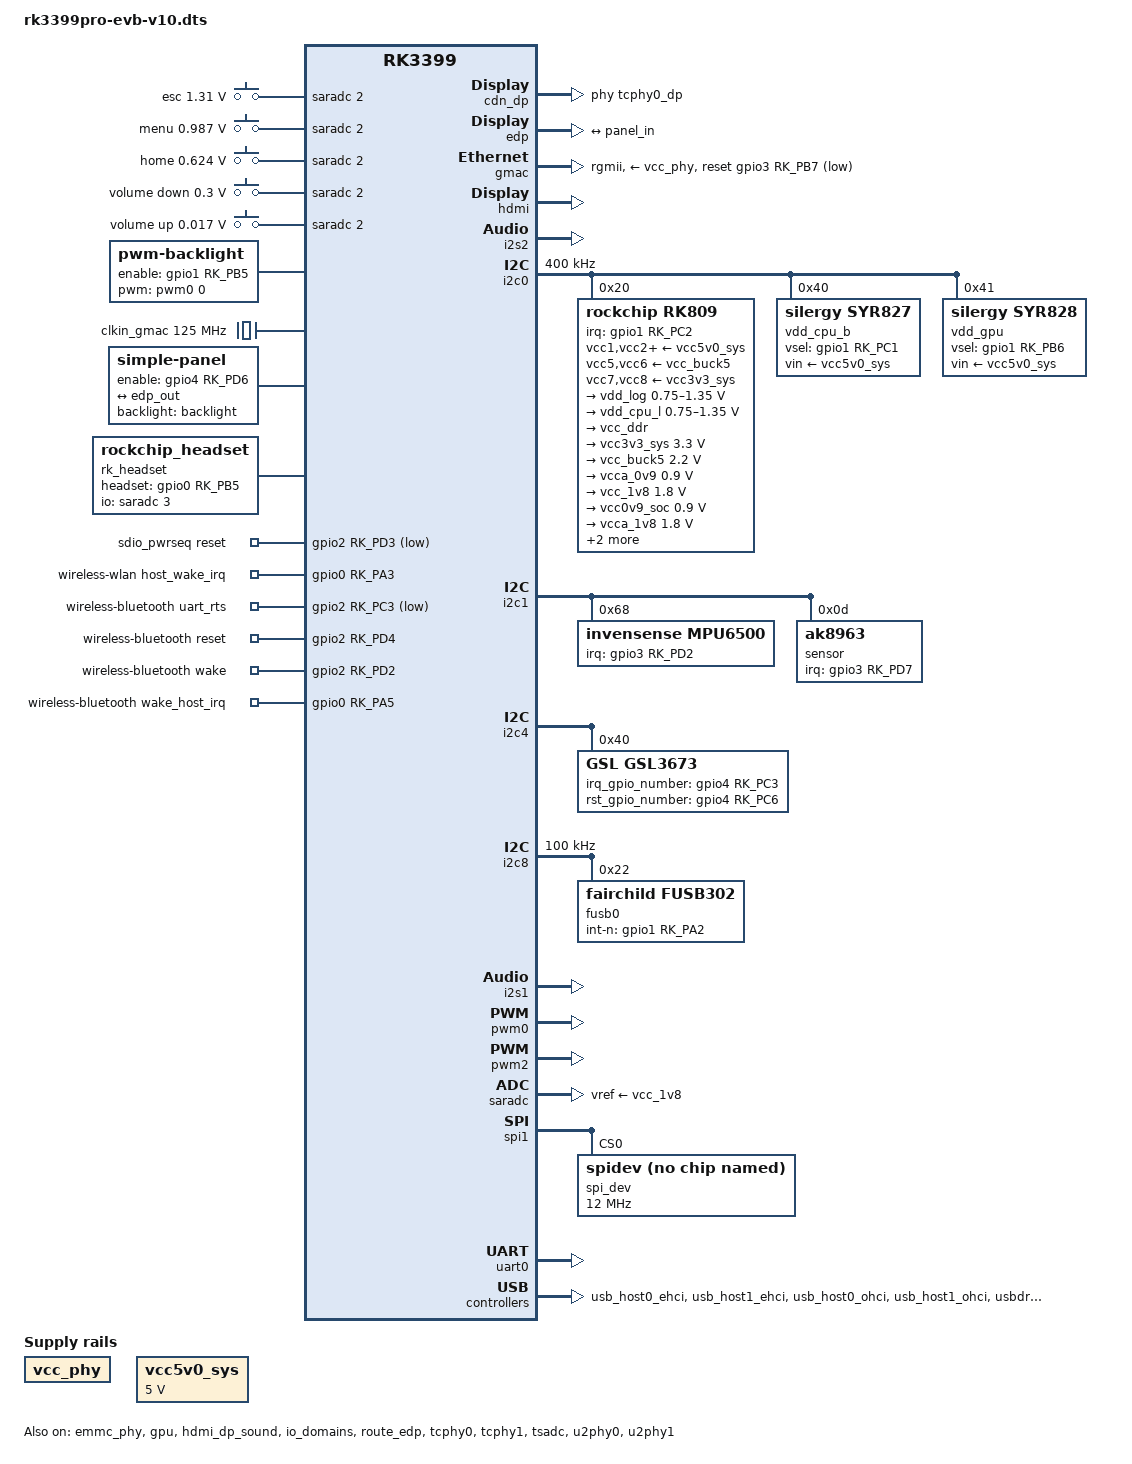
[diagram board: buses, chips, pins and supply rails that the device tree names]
// SPDX-License-Identifier: (GPL-2.0+ OR MIT)
// Copyright (c) 2018 Fuzhou Rockchip Electronics Co., Ltd

/dts-v1/;
#include <dt-bindings/gpio/gpio.h>
#include <dt-bindings/pinctrl/rockchip.h>
#include <dt-bindings/input/input.h>
#include <dt-bindings/display/drm_mipi_dsi.h>
#include <dt-bindings/sensor-dev.h>
#include <dt-bindings/pwm/pwm.h>
#include "rk3399pro.dtsi"
#include "rk3399-android.dtsi"
#include "rk3399-opp.dtsi"
#include "rk3399-vop-clk-set.dtsi"

/ {
	compatible = "rockchip,rk3399pro-evb-v10", "rockchip,rk3399pro";

	adc-keys {
		compatible = "adc-keys";
		io-channels = <&saradc 2>;
		io-channel-names = "buttons";
		poll-interval = <100>;
		keyup-threshold-microvolt = <1800000>;

		esc-key {
			linux,code = <KEY_ESC>;
			label = "esc";
			press-threshold-microvolt = <1310000>;
		};

		menu-key {
			linux,code = <KEY_MENU>;
			label = "menu";
			press-threshold-microvolt = <987000>;
		};

		home-key {
			linux,code = <KEY_HOME>;
			label = "home";
			press-threshold-microvolt = <624000>;
		};

		vol-down-key {
			linux,code = <KEY_VOLUMEDOWN>;
			label = "volume down";
			press-threshold-microvolt = <300000>;
		};

		vol-up-key {
			linux,code = <KEY_VOLUMEUP>;
			label = "volume up";
			press-threshold-microvolt = <17000>;
		};
	};

	backlight: backlight {
		compatible = "pwm-backlight";
		pwms = <&pwm0 0 25000 0>;
		brightness-levels = <
			  0  20  20  21  21  22  22  23
			 23  24  24  25  25  26  26  27
			 27  28  28  29  29  30  30  31
			 31  32  32  33  33  34  34  35
			 35  36  36  37  37  38  38  39
			 40  41  42  43  44  45  46  47
			 48  49  50  51  52  53  54  55
			 56  57  58  59  60  61  62  63
			 64  65  66  67  68  69  70  71
			 72  73  74  75  76  77  78  79
			 80  81  82  83  84  85  86  87
			 88  89  90  91  92  93  94  95
			 96  97  98  99 100 101 102 103
			104 105 106 107 108 109 110 111
			112 113 114 115 116 117 118 119
			120 121 122 123 124 125 126 127
			128 129 130 131 132 133 134 135
			136 137 138 139 140 141 142 143
			144 145 146 147 148 149 150 151
			152 153 154 155 156 157 158 159
			160 161 162 163 164 165 166 167
			168 169 170 171 172 173 174 175
			176 177 178 179 180 181 182 183
			184 185 186 187 188 189 190 191
			192 193 194 195 196 197 198 199
			200 201 202 203 204 205 206 207
			208 209 210 211 212 213 214 215
			216 217 218 219 220 221 222 223
			224 225 226 227 228 229 230 231
			232 233 234 235 236 237 238 239
			240 241 242 243 244 245 246 247
			248 249 250 251 252 253 254 255
		>;
		default-brightness-level = <200>;
		enable-gpios = <&gpio1 RK_PB5 GPIO_ACTIVE_HIGH>;
	};

	clkin_gmac: external-gmac-clock {
		compatible = "fixed-clock";
		clock-frequency = <125000000>;
		clock-output-names = "clkin_gmac";
		#clock-cells = <0>;
	};

	hdmi_sound: hdmi-sound {
		status = "okay";
		compatible = "simple-audio-card";
		simple-audio-card,format = "i2s";
		simple-audio-card,mclk-fs = <256>;
		simple-audio-card,name = "rockchip,hdmi";

		simple-audio-card,cpu {
			sound-dai = <&i2s2>;
		};
		simple-audio-card,codec {
			sound-dai = <&hdmi>;
		};
	};

	panel: panel {
		compatible = "simple-panel";
		backlight = <&backlight>;
		enable-gpios = <&gpio4 RK_PD6 GPIO_ACTIVE_HIGH>;
		prepare-delay-ms = <20>;
		enable-delay-ms = <20>;
		reset-delay-ms = <20>;

		display-timings {
			native-mode = <&timing0>;

			timing0: timing0 {
				clock-frequency = <200000000>;
				hactive = <1536>;
				vactive = <2048>;
				hfront-porch = <12>;
				hsync-len = <16>;
				hback-porch = <48>;
				vfront-porch = <8>;
				vsync-len = <4>;
				vback-porch = <8>;
				hsync-active = <0>;
				vsync-active = <0>;
				de-active = <0>;
				pixelclk-active = <0>;
			};
		};

		ports {
			panel_in: endpoint {
				remote-endpoint = <&edp_out>;
			};
		};
	};

	rk809-sound {
		compatible = "simple-audio-card";
		simple-audio-card,format = "i2s";
		simple-audio-card,name = "rockchip,rk809-codec";
		simple-audio-card,mclk-fs = <256>;
		simple-audio-card,widgets =
			"Microphone", "Mic Jack",
			"Headphone", "Headphone Jack";
		simple-audio-card,routing =
			"Mic Jack", "MICBIAS1",
			"IN1P", "Mic Jack",
			"Headphone Jack", "HPOL",
			"Headphone Jack", "HPOR";
		simple-audio-card,cpu {
			sound-dai = <&i2s1>;
		};
		simple-audio-card,codec {
			sound-dai = <&rk809_codec>;
		};
	};

	rk_headset: rk-headset {
		compatible = "rockchip_headset";
		headset_gpio = <&gpio0 RK_PB5 GPIO_ACTIVE_HIGH>;
		pinctrl-names = "default";
		pinctrl-0 = <&hp_det>;
		io-channels = <&saradc 3>;
	};

	sdio_pwrseq: sdio-pwrseq {
		compatible = "mmc-pwrseq-simple";
		clocks = <&rk809 1>;
		clock-names = "ext_clock";
		pinctrl-names = "default";
		pinctrl-0 = <&wifi_enable_h>;

		/*
		 * On the module itself this is one of these (depending
		 * on the actual card populated):
		 * - SDIO_RESET_L_WL_REG_ON
		 * - PDN (power down when low)
		 */
		reset-gpios = <&gpio2 RK_PD3 GPIO_ACTIVE_LOW>;
	};

	vcc_phy: vcc-phy-regulator {
		compatible = "regulator-fixed";
		regulator-name = "vcc_phy";
		regulator-always-on;
		regulator-boot-on;
	};

	vcc5v0_sys: vccsys {
		compatible = "regulator-fixed";
		regulator-name = "vcc5v0_sys";
		regulator-always-on;
		regulator-boot-on;
		regulator-min-microvolt = <5000000>;
		regulator-max-microvolt = <5000000>;
	};

	wireless-wlan {
		compatible = "wlan-platdata";
		rockchip,grf = <&grf>;
		wifi_chip_type = "ap6398s";
		sdio_vref = <1800>;
		WIFI,host_wake_irq = <&gpio0 RK_PA3 GPIO_ACTIVE_HIGH>;
		status = "okay";
	};

	wireless-bluetooth {
		compatible = "bluetooth-platdata";
		clocks = <&rk809 1>;
		clock-names = "ext_clock";
		uart_rts_gpios = <&gpio2 RK_PC3 GPIO_ACTIVE_LOW>;
		pinctrl-names = "default", "rts_gpio";
		pinctrl-0 = <&uart0_rts>, <&bt_irq_gpio>;
		pinctrl-1 = <&uart0_gpios>;
		BT,reset_gpio    = <&gpio2 RK_PD4 GPIO_ACTIVE_HIGH>;
		BT,wake_gpio     = <&gpio2 RK_PD2 GPIO_ACTIVE_HIGH>;
		BT,wake_host_irq = <&gpio0 RK_PA5 GPIO_ACTIVE_HIGH>;
		status = "okay";
	};
};

&cdn_dp {
	status = "okay";
	extcon = <&fusb0>;
	phys = <&tcphy0_dp>;
};

&cpu_l0 {
	cpu-supply = <&vdd_cpu_l>;
};

&cpu_l1 {
	cpu-supply = <&vdd_cpu_l>;
};

&cpu_l2 {
	cpu-supply = <&vdd_cpu_l>;
};

&cpu_l3 {
	cpu-supply = <&vdd_cpu_l>;
};

&cpu_b0 {
	cpu-supply = <&vdd_cpu_b>;
};

&cpu_b1 {
	cpu-supply = <&vdd_cpu_b>;
};

&dp_in_vopb {
	status = "disabled";
};

&edp {
	status = "okay";
	force-hpd;

	ports {
		port@1 {
			reg = <1>;

			edp_out: endpoint {
				remote-endpoint = <&panel_in>;
			};
		};
	};
};

&edp_in_vopl {
	status = "disabled";
};

&emmc_phy {
	status = "okay";
};

&fiq_debugger {
	pinctrl-0 = <&uart2a_xfer>;
};

&firmware_android {
	compatible = "android,firmware";
	fstab {
		compatible = "android,fstab";
		system {
			compatible = "android,system";
			dev = "/dev/block/by-name/system";
			type = "ext4";
			mnt_flags = "ro,barrier=1,inode_readahead_blks=8";
			fsmgr_flags = "wait,verify";
		};
		vendor {
			compatible = "android,vendor";
			dev = "/dev/block/by-name/vendor";
			type = "ext4";
			mnt_flags = "ro,barrier=1,inode_readahead_blks=8";
			fsmgr_flags = "wait,verify";
		};
	};
};

&gmac {
	phy-supply = <&vcc_phy>;
	phy-mode = "rgmii";
	clock_in_out = "input";
	snps,reset-gpio = <&gpio3 RK_PB7 GPIO_ACTIVE_LOW>;
	snps,reset-active-low;
	snps,reset-delays-us = <0 10000 50000>;
	assigned-clocks = <&cru SCLK_RMII_SRC>;
	assigned-clock-parents = <&clkin_gmac>;
	pinctrl-names = "default";
	pinctrl-0 = <&rgmii_pins>;
	tx_delay = <0x28>;
	rx_delay = <0x11>;
	status = "okay";
};

&gpu {
	status = "okay";
	mali-supply = <&vdd_gpu>;
};

&hdmi {
	status = "okay";
	#sound-dai-cells = <0>;
	rockchip,phy-table =
		<74250000  0x8009 0x0004 0x0272>,
		<165000000 0x802b 0x0004 0x0209>,
		<297000000 0x8039 0x0005 0x028d>,
		<594000000 0x8039 0x0000 0x00f6>,
		<000000000 0x0000 0x0000 0x0000>;
};

&hdmi_dp_sound {
	status = "okay";
};

&hdmi_in_vopb {
	status = "disabled";
};

&i2s2 {
	#sound-dai-cells = <0>;
	status = "okay";
};

&i2c0 {
	status = "okay";
	i2c-scl-rising-time-ns = <180>;
	i2c-scl-falling-time-ns = <30>;
	clock-frequency = <400000>;

	rk809: pmic@20 {
		compatible = "rockchip,rk809";
		reg = <0x20>;
		interrupt-parent = <&gpio1>;
		interrupts = <RK_PC2 IRQ_TYPE_LEVEL_LOW>;
		pinctrl-names = "default", "pmic-sleep",
				"pmic-power-off", "pmic-reset";
		pinctrl-0 = <&pmic_int_l>;
		pinctrl-1 = <&soc_slppin_slp>, <&rk809_slppin_slp>;
		pinctrl-2 = <&soc_slppin_gpio>, <&rk809_slppin_pwrdn>;
		pinctrl-3 = <&soc_slppin_gpio>,<&rk809_slppin_rst>;
		rockchip,system-power-controller;
		pmic-reset-func = <0>;
		wakeup-source;
		#clock-cells = <1>;
		clock-output-names = "rk808-clkout1", "rk808-clkout2";

		vcc1-supply = <&vcc5v0_sys>;
		vcc2-supply = <&vcc5v0_sys>;
		vcc3-supply = <&vcc5v0_sys>;
		vcc4-supply = <&vcc5v0_sys>;
		vcc5-supply = <&vcc_buck5>;
		vcc6-supply = <&vcc_buck5>;
		vcc7-supply = <&vcc3v3_sys>;
		vcc8-supply = <&vcc3v3_sys>;
		vcc9-supply = <&vcc5v0_sys>;

		pwrkey {
			status = "okay";
		};

		rtc {
			status = "okay";
		};

		pinctrl_rk8xx: pinctrl_rk8xx {
			gpio-controller;
			#gpio-cells = <2>;

			rk809_slppin_null: rk809_slppin_null {
				pins = "gpio_slp";
				function = "pin_fun0";
			};

			rk809_slppin_slp: rk809_slppin_slp {
				pins = "gpio_slp";
				function = "pin_fun1";
			};

			rk809_slppin_pwrdn: rk809_slppin_pwrdn {
				pins = "gpio_slp";
				function = "pin_fun2";
			};

			rk809_slppin_rst: rk809_slppin_rst {
				pins = "gpio_slp";
				function = "pin_fun3";
			};
		};

		regulators {
			vdd_log: DCDC_REG1 {
				regulator-always-on;
				regulator-boot-on;
				regulator-min-microvolt = <750000>;
				regulator-max-microvolt = <1350000>;
				regulator-initial-mode = <0x2>;
				regulator-name = "vdd_log";
				regulator-state-mem {
					regulator-on-in-suspend;
					regulator-suspend-microvolt = <900000>;
				};
			};

			vdd_cpu_l: DCDC_REG2 {
				regulator-always-on;
				regulator-boot-on;
				regulator-min-microvolt = <750000>;
				regulator-max-microvolt = <1350000>;
				regulator-ramp-delay = <6001>;
				regulator-initial-mode = <0x2>;
				regulator-name = "vdd_cpu_l";
				regulator-state-mem {
					regulator-off-in-suspend;
				};
			};

			vcc_ddr: DCDC_REG3 {
				regulator-always-on;
				regulator-boot-on;
				regulator-name = "vcc_ddr";
				regulator-initial-mode = <0x2>;
				regulator-state-mem {
					regulator-on-in-suspend;
				};
			};

			vcc3v3_sys: DCDC_REG4 {
				regulator-always-on;
				regulator-boot-on;
				regulator-min-microvolt = <3300000>;
				regulator-max-microvolt = <3300000>;
				regulator-initial-mode = <0x2>;
				regulator-name = "vcc3v3_sys";
				regulator-state-mem {
					regulator-on-in-suspend;
					regulator-suspend-microvolt = <3300000>;
				};
			};

			vcc_buck5: DCDC_REG5 {
				regulator-always-on;
				regulator-boot-on;
				regulator-min-microvolt = <2200000>;
				regulator-max-microvolt = <2200000>;
				regulator-name = "vcc_buck5";
				regulator-state-mem {
					regulator-on-in-suspend;
					regulator-suspend-microvolt = <2200000>;
				};
			};

			vcca_0v9: LDO_REG1 {
				regulator-always-on;
				regulator-boot-on;
				regulator-min-microvolt = <900000>;
				regulator-max-microvolt = <900000>;
				regulator-name = "vcca_0v9";
				regulator-state-mem {
					regulator-off-in-suspend;
				};
			};

			vcc_1v8: LDO_REG2 {
				regulator-always-on;
				regulator-boot-on;
				regulator-min-microvolt = <1800000>;
				regulator-max-microvolt = <1800000>;

				regulator-name = "vcc_1v8";
				regulator-state-mem {
					regulator-on-in-suspend;
					regulator-suspend-microvolt = <1800000>;
				};
			};

			vcc0v9_soc: LDO_REG3 {
				regulator-always-on;
				regulator-boot-on;
				regulator-min-microvolt = <900000>;
				regulator-max-microvolt = <900000>;

				regulator-name = "vcc0v9_soc";
				regulator-state-mem {
					regulator-on-in-suspend;
					regulator-suspend-microvolt = <900000>;
				};
			};

			vcca_1v8: LDO_REG4 {
				regulator-always-on;
				regulator-boot-on;
				regulator-min-microvolt = <1800000>;
				regulator-max-microvolt = <1800000>;

				regulator-name = "vcca_1v8";
				regulator-state-mem {
					regulator-off-in-suspend;
				};
			};

			vdd1v5_dvp: LDO_REG5 {
				regulator-always-on;
				regulator-boot-on;
				regulator-min-microvolt = <1500000>;
				regulator-max-microvolt = <1500000>;

				regulator-name = "vdd1v5_dvp";
				regulator-state-mem {
					regulator-off-in-suspend;
				};
			};

			vcc_1v5: LDO_REG6 {
				regulator-always-on;
				regulator-boot-on;
				regulator-min-microvolt = <1500000>;
				regulator-max-microvolt = <1500000>;

				regulator-name = "vcc_1v5";
				regulator-state-mem {
					regulator-off-in-suspend;
				};
			};

			vcc_3v0: LDO_REG7 {
				regulator-always-on;
				regulator-boot-on;
				regulator-min-microvolt = <3000000>;
				regulator-max-microvolt = <3000000>;

				regulator-name = "vcc_3v0";
				regulator-state-mem {
					regulator-off-in-suspend;
				};
			};

			vccio_sd: LDO_REG8 {
				regulator-always-on;
				regulator-boot-on;
				regulator-min-microvolt = <1800000>;
				regulator-max-microvolt = <3300000>;

				regulator-name = "vccio_sd";
				regulator-state-mem {
					regulator-off-in-suspend;
				};
			};

			vcc_sd: LDO_REG9 {
				regulator-always-on;
				regulator-boot-on;
				regulator-min-microvolt = <3300000>;
				regulator-max-microvolt = <3300000>;

				regulator-name = "vcc_sd";
				regulator-state-mem {
					regulator-off-in-suspend;
				};
			};

			vcc5v0_usb: SWITCH_REG1 {
				regulator-always-on;
				regulator-boot-on;
				regulator-name = "vcc5v0_usb";
				regulator-state-mem {
					regulator-on-in-suspend;
				};
			};

			vccio_3v3: SWITCH_REG2 {
				regulator-always-on;
				regulator-boot-on;
				regulator-name = "vccio_3v3";
				regulator-state-mem {
					regulator-off-in-suspend;
				};
			};
		};

		rk809_codec: codec {
			#sound-dai-cells = <0>;
			compatible = "rockchip,rk809-codec", "rockchip,rk817-codec";
			clocks = <&cru SCLK_I2S_8CH_OUT>;
			clock-names = "mclk";
			pinctrl-names = "default";
			pinctrl-0 = <&i2s_8ch_mclk>;
			hp-volume = <20>;
			spk-volume = <3>;
			status = "okay";
		};
	};

	vdd_cpu_b: syr837@40 {
		compatible = "silergy,syr827";
		reg = <0x40>;
		vin-supply = <&vcc5v0_sys>;
		regulator-compatible = "fan53555-reg";
		pinctrl-0 = <&vsel1_gpio>;
		vsel-gpios = <&gpio1 RK_PC1 GPIO_ACTIVE_HIGH>;
		regulator-name = "vdd_cpu_b";
		regulator-min-microvolt = <712500>;
		regulator-max-microvolt = <1500000>;
		regulator-ramp-delay = <1000>;
		fcs,suspend-voltage-selector = <1>;
		regulator-always-on;
		regulator-boot-on;
		regulator-initial-state = <3>;
		regulator-state-mem {
			regulator-off-in-suspend;
		};
	};

	vdd_gpu: syr828@41 {
		compatible = "silergy,syr828";
		status = "okay";
		reg = <0x41>;
		vin-supply = <&vcc5v0_sys>;
		regulator-compatible = "fan53555-reg";
		pinctrl-0 = <&vsel2_gpio>;
		vsel-gpios = <&gpio1 RK_PB6 GPIO_ACTIVE_HIGH>;
		regulator-name = "vdd_gpu";
		regulator-min-microvolt = <735000>;
		regulator-max-microvolt = <1400000>;
		regulator-ramp-delay = <1000>;
		fcs,suspend-voltage-selector = <1>;
		regulator-always-on;
		regulator-boot-on;
		regulator-state-mem {
			regulator-off-in-suspend;
		};
	};

	bq25700: bq25700@6b {
		compatible = "ti,bq25703";
		reg = <0x6b>;
		extcon = <&fusb0>;
		interrupt-parent = <&gpio1>;
		interrupts = <RK_PA1 IRQ_TYPE_LEVEL_LOW>;
		pinctrl-names = "default";
		pinctrl-0 = <&charger_ok_int>;
		ti,charge-current = <1500000>;
		ti,max-charge-voltage = <8704000>;
		ti,max-input-voltage = <20000000>;
		ti,max-input-current = <6000000>;
		ti,input-current-sdp = <500000>;
		ti,input-current-dcp = <2000000>;
		ti,input-current-cdp = <2000000>;
		ti,input-current-dc = <2000000>;
		ti,minimum-sys-voltage = <6700000>;
		ti,otg-voltage = <5000000>;
		ti,otg-current = <500000>;
		ti,input-current = <500000>;
		pd-charge-only = <0>;
		status = "disabled";
	};
};

&i2c1 {
	status = "okay";
	i2c-scl-rising-time-ns = <140>;
	i2c-scl-falling-time-ns = <30>;

	mpu6500@68 {
		status = "okay";
		compatible = "invensense,mpu6500";
		reg = <0x68>;
		irq-gpio = <&gpio3 RK_PD2 IRQ_TYPE_EDGE_RISING>;
		mpu-int_config = <0x10>;
		mpu-level_shifter = <0>;
		mpu-orientation = <0 1 0 1 0 0 0 0 1>;
		orientation-x= <0>;
		orientation-y= <0>;
		orientation-z= <1>;
		mpu-debug = <1>;
	};

	sensor@d {
		status = "okay";
		compatible = "ak8963";
		reg = <0x0d>;
		type = <SENSOR_TYPE_COMPASS>;
		irq-gpio = <&gpio3 RK_PD7 IRQ_TYPE_EDGE_RISING>;
		irq_enable = <0>;
		poll_delay_ms = <30>;
		layout = <3>;
	};
};

&i2c4 {
	status = "okay";
	i2c-scl-rising-time-ns = <345>;
	i2c-scl-falling-time-ns = <11>;

	gsl3673: gsl3673@40 {
		compatible = "GSL,GSL3673";
		reg = <0x40>;
		screen_max_x = <1536>;
		screen_max_y = <2048>;
		irq_gpio_number = <&gpio4 RK_PC3 IRQ_TYPE_LEVEL_LOW>;
		rst_gpio_number = <&gpio4 RK_PC6 GPIO_ACTIVE_HIGH>;
	};
};

&i2c8 {
	status = "okay";
	i2c-scl-rising-time-ns = <345>;
	i2c-scl-falling-time-ns = <11>;
	clock-frequency = <100000>;

	fusb0: fusb30x@22 {
		compatible = "fairchild,fusb302";
		reg = <0x22>;
		pinctrl-names = "default";
		pinctrl-0 = <&fusb0_int>;
		int-n-gpios = <&gpio1 RK_PA2 GPIO_ACTIVE_HIGH>;
		status = "okay";
	};

};

&i2s1 {
	status = "okay";
	#sound-dai-cells = <0>;
};

&io_domains {
	status = "okay";
	bt656-supply = <&vcca_1v8>;
	audio-supply = <&vcca_1v8>;
	sdmmc-supply = <&vccio_sd>;
	gpio1830-supply = <&vcc_3v0>;
};

&isp0_mmu {
	status = "okay";
};

&isp1_mmu {
	status = "okay";
};

&pcie_phy {
	status = "disabled";
};

&pcie0 {
	status = "disabled";
};

&pmu_io_domains {
	status = "okay";
	pmu1830-supply = <&vcc_1v8>;
};

&pwm0 {
	status = "okay";
};

&pwm2 {
	status = "okay";
};

&rk_key {
	status = "disabled";
};

&rockchip_suspend {
	status = "okay";
	rockchip,sleep-debug-en = <1>;
	rockchip,sleep-mode-config = <
		(0
		| RKPM_SLP_ARMPD
		| RKPM_SLP_PERILPPD
		| RKPM_SLP_DDR_RET
		| RKPM_SLP_PLLPD
		| RKPM_SLP_CENTER_PD
		| RKPM_SLP_OSC_DIS
		| RKPM_SLP_AP_PWROFF
		)
	>;
	rockchip,wakeup-config = <RKPM_GPIO_WKUP_EN>;
	rockchip,pwm-regulator-config = <PWM2_REGULATOR_EN>;
	rockchip,power-ctrl =
		<&gpio1 RK_PC1 GPIO_ACTIVE_HIGH>,
		<&gpio1 RK_PB6 GPIO_ACTIVE_HIGH>;
};

&route_edp {
	status = "okay";
};

&saradc {
	status = "okay";
	vref-supply = <&vcc_1v8>;
};

&sdmmc {
	sd-uhs-sdr12;
	sd-uhs-sdr25;
	sd-uhs-sdr50;
	sd-uhs-sdr104;
};

&spi1 {
	status = "okay";
	max-freq = <48000000>; /* spi internal clk, don't modify */
	spi_dev@0 {
		compatible = "rockchip,spidev";
		reg = <0>;
		spi-max-frequency = <12000000>;
		spi-lsb-first;
	};
};

&tcphy0 {
	extcon = <&fusb0>;
	status = "okay";
};

&tcphy1 {
	status = "okay";
};

&tsadc {
	rockchip,hw-tshut-mode = <1>; /* tshut mode 0:CRU 1:GPIO */
	rockchip,hw-tshut-polarity = <1>; /* tshut polarity 0:LOW 1:HIGH */
	status = "okay";
};

&u2phy0 {
	status = "okay";
	extcon = <&fusb0>;

	u2phy0_otg: otg-port {
		status = "okay";
	};

	u2phy0_host: host-port {
		phy-supply = <&vcc5v0_usb>;
		status = "okay";
	};
};

&u2phy1 {
	status = "okay";

	u2phy1_otg: otg-port {
		status = "okay";
	};

	u2phy1_host: host-port {
		phy-supply = <&vcc5v0_usb>;
		status = "okay";
	};
};

&uart0 {
	pinctrl-names = "default";
	pinctrl-0 = <&uart0_xfer &uart0_cts>;
	status = "okay";
};

&usb_host0_ehci {
	status = "okay";
};

&usb_host1_ehci {
	status = "okay";
};
&usb_host0_ohci {
	status = "okay";
};

&usb_host1_ohci {
	status = "okay";
};

&usbdrd3_0 {
	status = "okay";
};

&usbdrd3_1 {
	status = "okay";
};

&usbdrd_dwc3_0 {
	status = "okay";
	extcon = <&fusb0>;
};

&usbdrd_dwc3_1 {
	status = "okay";
};

&vopb {
	assigned-clocks = <&cru DCLK_VOP0_DIV>;
	assigned-clock-parents = <&cru PLL_CPLL>;
};

&vopl {
	assigned-clocks = <&cru DCLK_VOP1_DIV>;
	assigned-clock-parents = <&cru PLL_VPLL>;
};

&pinctrl {
	pinctrl-names = "default";
	pinctrl-0 = <&npu_ref_clk>;

	bq2570 {
		charger_ok_int: charger-ok-int {
			rockchip,pins =
				<1 RK_PA1 RK_FUNC_GPIO &pcfg_pull_up>;
			};
	};

	fusb30x {
		fusb0_int: fusb0-int {
			rockchip,pins =
				<1 RK_PA2 RK_FUNC_GPIO &pcfg_pull_up>;
			};
	};

	headphone {
		hp_det: hp-det {
			rockchip,pins =
				<0 RK_PB5 RK_FUNC_GPIO &pcfg_pull_up>;
		};
	};

	lcd_rst {
		lcd_rst_gpio: lcd-rst-gpio {
			rockchip,pins =
				<3 RK_PA4 RK_FUNC_GPIO &pcfg_pull_none>;
		};
	};

	npu_clk {
		npu_ref_clk: npu-ref-clk {
		     rockchip,pins =
			     <0 RK_PA2 1 &pcfg_pull_none>;
	     };
	};

	pmic {
		pmic_int_l: pmic-int-l {
			rockchip,pins =
				<1 RK_PC2 RK_FUNC_GPIO &pcfg_pull_up>;
		};
		vsel1_gpio: vsel1-gpio {
			rockchip,pins =
				<1 RK_PC1 RK_FUNC_GPIO &pcfg_pull_down>;
		};
		vsel2_gpio: vsel2-gpio {
			rockchip,pins =
				<1 RK_PB6 RK_FUNC_GPIO &pcfg_pull_down>;
		};

		soc_slppin_gpio: soc-slppin-gpio {
			rockchip,pins =
				<1 RK_PA5 RK_FUNC_GPIO &pcfg_output_low>;
		};

		soc_slppin_slp: soc-slppin-slp {
			rockchip,pins =
				<1 RK_PA5 1 &pcfg_pull_none>;
		};
	};

	sdio-pwrseq {
		wifi_enable_h: wifi-enable-h {
			rockchip,pins =
				<2 RK_PD3 RK_FUNC_GPIO &pcfg_pull_none>;
		};
	};

	sdmmc {
		sdmmc_bus1: sdmmc-bus1 {
			rockchip,pins =
				<4 RK_PB0 1 &pcfg_pull_up_10ma>;
		};

		sdmmc_bus4: sdmmc-bus4 {
			rockchip,pins =
				<4 RK_PB0 1 &pcfg_pull_up_10ma>,
				<4 RK_PB1 1 &pcfg_pull_up_10ma>,
				<4 RK_PB2 1 &pcfg_pull_up_10ma>,
				<4 RK_PB3 1 &pcfg_pull_up_10ma>;
		};

		sdmmc_clk: sdmmc-clk {
			rockchip,pins =
				<4 RK_PB4 1 &pcfg_pull_none_10ma>;
		};

		sdmmc_cmd: sdmmc-cmd {
			rockchip,pins =
				<4 RK_PB5 1 &pcfg_pull_up_10ma>;
		};
	};

	tp_irq {
		tp_irq_gpio: tp-irq-gpio {
			rockchip,pins =
				<3 RK_PB0 RK_FUNC_GPIO &pcfg_pull_up>;
		};
	};

	wireless-bluetooth {
		uart0_gpios: uart0-gpios {
			rockchip,pins =
				<2 RK_PC3 RK_FUNC_GPIO &pcfg_pull_none>;
		};
		bt_irq_gpio: bt-irq-gpio {
			rockchip,pins =
				<0 RK_PA5 RK_FUNC_GPIO &pcfg_pull_down>;
		};
	};
};
